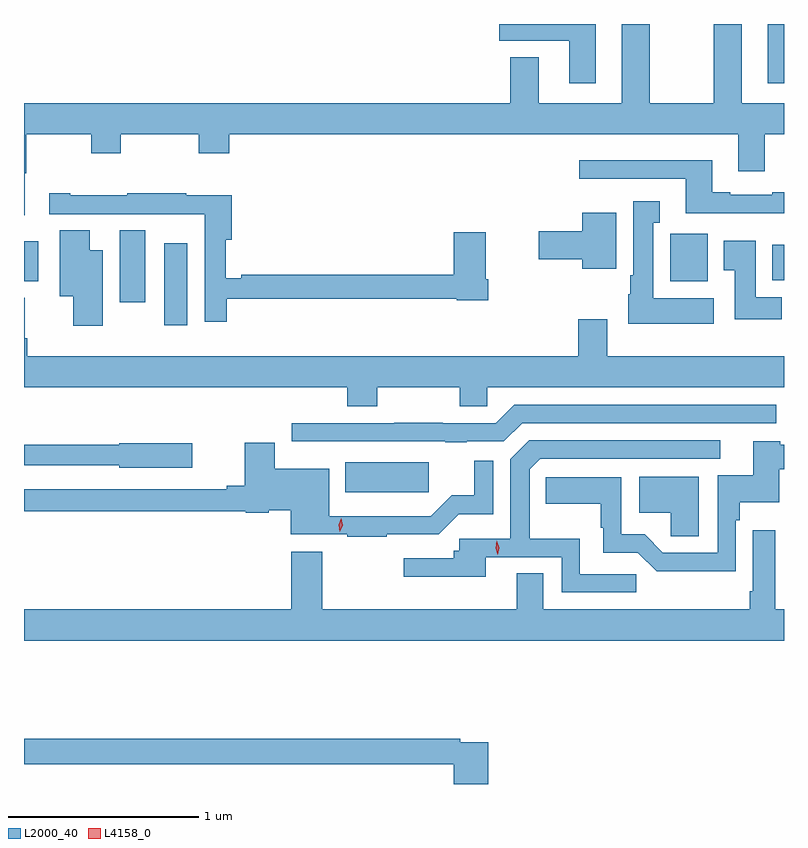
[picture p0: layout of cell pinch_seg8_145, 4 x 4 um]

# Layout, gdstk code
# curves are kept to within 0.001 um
import gdstk
lib = gdstk.Library(unit=1e-6, precision=1e-09)
def R(c, l, rs):  # rectangles x0, y0, x1, y1
    for r in rs: c.add(gdstk.rectangle(r[:2], r[2:], *l))
def P(c, l, *ps):  # polygons
    for p in ps: c.add(gdstk.Polygon(p, *l))
L2000_40 = (2000, 40)
L4158_0 = (4158, 0)

pinch_seg8_145 = lib.new_cell('pinch_seg8_145')
R(pinch_seg8_145, L2000_40, [(844.304,1138.592,844.744,1138.75), (843.35,1139.472,843.472,1139.902), (843.116,1139.592,843.25,1139.972), (842.613,1139.702,842.689,1139.914), (846.015,1139.702,846.211,1139.952), (846.551,1139.708,846.613,1139.896), (846.527,1140.744,846.613,1141.057)])
P(pinch_seg8_145, L2000_40, [(845.623,1141.057),(845.114,1141.057),(845.114,1140.968),(845.483,1140.968),(845.483,1140.744),(845.623,1140.744)],
  [(842.617,1140.272),(842.625,1140.272),(842.625,1140.476),(842.968,1140.476),(842.968,1140.377),(843.123,1140.377),(843.123,1140.476),(843.532,1140.476),(843.532,1140.377),(843.692,1140.377),(843.692,1140.476),(846.371,1140.476),(846.371,1140.282),(846.511,1140.282),(846.511,1140.476),(846.613,1140.476),(846.613,1140.64),(846.391,1140.64),(846.391,1141.057),(846.244,1141.057),(846.244,1140.64),(845.907,1140.64),(845.907,1141.057),(845.759,1141.057),(845.759,1140.64),(845.323,1140.64),(845.323,1140.883),(845.171,1140.883),(845.171,1140.64),(842.613,1140.64),(842.613,1140.051),(842.617,1140.051)],
  [(846.613,1140.172),(846.551,1140.172),(846.551,1140.159),(846.331,1140.159),(846.331,1140.172),(846.235,1140.172),(846.235,1140.34),(845.535,1140.34),(845.535,1140.243),(846.095,1140.243),(846.095,1140.062),(846.613,1140.062)],
  [(843.68,1139.61),(844.89,1139.61),(844.89,1139.602),(845.057,1139.602),(845.057,1139.713),(845.044,1139.713),(845.044,1139.962),(844.874,1139.962),(844.874,1139.738),(843.757,1139.738),(843.757,1139.72),(843.676,1139.72),(843.676,1139.921),(843.707,1139.921),(843.707,1140.156),(843.467,1140.156),(843.467,1140.166),(843.157,1140.166),(843.157,1140.156),(842.857,1140.156),(842.857,1140.166),(842.745,1140.166),(842.745,1140.057),(843.354,1140.057),(843.354,1140.056),(843.564,1140.056),(843.564,1139.49),(843.68,1139.49)],
  [(846.244,1139.614),(845.926,1139.614),(845.926,1140.011),(845.959,1140.011),(845.959,1140.124),(845.819,1140.124),(845.819,1139.734),(845.804,1139.734),(845.804,1139.634),(845.792,1139.634),(845.792,1139.48),(846.244,1139.48)],
  [(845.731,1140.064),(845.552,1140.064),(845.552,1139.966),(845.322,1139.966),(845.322,1139.819),(845.552,1139.819),(845.552,1139.768),(845.731,1139.768)],
  [(843.028,1139.866),(842.959,1139.866),(842.959,1139.972),(842.801,1139.972),(842.801,1139.624),(842.873,1139.624),(842.873,1139.469),(843.028,1139.469)],
  [(846.602,1139.62),(846.463,1139.62),(846.463,1139.917),(846.296,1139.917),(846.296,1139.761),(846.353,1139.761),(846.353,1139.502),(846.602,1139.502)],
  [(842.617,1139.404),(842.617,1139.617),(842.613,1139.617),(842.613,1139.144),(844.313,1139.144),(844.313,1139.045),(844.473,1139.045),(844.473,1139.144),(844.906,1139.144),(844.906,1139.046),(845.052,1139.046),(845.052,1139.144),(846.613,1139.144),(846.613,1139.308),(845.683,1139.308),(845.683,1139.503),(845.531,1139.503),(845.531,1139.308),(842.63,1139.308),(842.63,1139.404)],
  [(844.942,1138.86),(845.139,1138.86),(845.235,1138.956),(846.571,1138.956),(846.571,1139.052),(845.193,1139.052),(845.097,1138.956),(844.817,1138.956),(844.817,1138.958),(844.561,1138.958),(844.561,1138.956),(844.023,1138.956),(844.023,1138.86),(844.831,1138.86),(844.831,1138.855),(844.942,1138.855)],
  [(845.836,1138.16),(845.538,1138.16),(845.538,1138.349),(845.274,1138.349),(845.274,1138.713),(845.331,1138.77),(846.277,1138.77),(846.277,1138.866),(845.271,1138.866),(845.171,1138.766),(845.171,1138.347),(844.905,1138.347),(844.905,1138.284),(844.874,1138.284),(844.874,1138.245),(844.611,1138.245),(844.611,1138.148),(845.044,1138.148),(845.044,1138.251),(845.442,1138.251),(845.442,1138.065),(845.836,1138.065)],
  [(846.36,1138.445),(846.38,1138.445),(846.38,1138.541),(846.588,1138.541),(846.588,1138.714),(846.613,1138.714),(846.613,1138.843),(846.593,1138.843),(846.593,1138.861),(846.452,1138.861),(846.452,1138.681),(846.264,1138.681),(846.264,1138.275),(845.976,1138.275),(845.88,1138.371),(845.757,1138.371),(845.757,1138.672),(845.36,1138.671),(845.36,1138.532),(845.649,1138.532),(845.649,1138.407),(845.661,1138.407),(845.661,1138.275),(845.844,1138.275),(845.942,1138.178),(846.36,1138.178)],
  [(844.523,1138.371),(844.797,1138.371),(844.902,1138.476),(845.082,1138.476),(845.082,1138.759),(844.984,1138.759),(844.984,1138.577),(844.865,1138.577),(844.755,1138.467),(844.219,1138.467),(844.219,1138.717),(843.934,1138.717),(843.934,1138.852),(843.776,1138.852),(843.776,1138.628),(843.68,1138.628),(843.68,1138.608),(842.613,1138.608),(842.613,1138.492),(843.78,1138.492),(843.78,1138.484),(843.9,1138.484),(843.9,1138.499),(844.016,1138.499),(844.016,1138.371),(844.315,1138.371),(844.315,1138.359),(844.523,1138.359)],
  [(843.499,1138.851),(843.114,1138.851),(843.114,1138.843),(842.613,1138.843),(842.613,1138.734),(843.114,1138.734),(843.114,1138.721),(843.499,1138.721)],
  [(846.163,1138.675),(845.852,1138.675),(845.852,1138.484),(846.016,1138.484),(846.016,1138.362),(846.163,1138.362)],
  [(846.613,1137.976),(846.568,1137.976),(846.568,1138.393),(846.449,1138.393),(846.449,1138.072),(846.432,1138.072),(846.432,1137.976),(845.347,1137.976),(845.347,1138.166),(845.207,1138.166),(845.207,1137.976),(844.184,1137.976),(844.184,1138.279),(844.019,1138.279),(844.019,1137.976),(842.613,1137.976),(842.613,1137.812),(846.613,1137.812)],
  [(845.057,1137.276),(844.91,1137.276),(844.91,1137.296),(842.613,1137.296),(842.613,1137.16),(844.874,1137.16),(844.874,1137.057),(845.057,1137.057)])
P(pinch_seg8_145, L4158_0, [(845.107,1138.264),(845.107,1138.264),(845.095,1138.299),(845.102,1138.336),(845.102,1138.336),(845.102,1138.336),(845.115,1138.3),(845.107,1138.264)],
  [(844.276,1138.385),(844.276,1138.385),(844.27,1138.421),(844.283,1138.456),(844.283,1138.456),(844.284,1138.456),(844.29,1138.419),(844.276,1138.385)])

lib.write_gds('pinch_seg8_145.gds')
